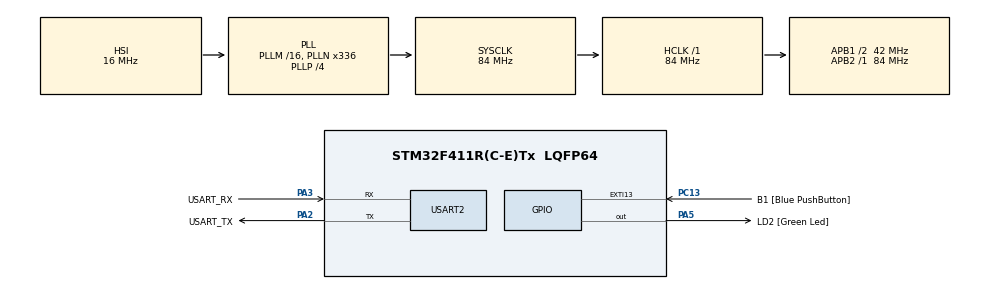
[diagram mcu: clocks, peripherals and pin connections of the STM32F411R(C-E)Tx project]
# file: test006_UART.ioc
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Mcu.Family=STM32F4
Mcu.Name=STM32F411R(C-E)Tx
Mcu.Package=LQFP64
NVIC.PriorityGroup=NVIC_PRIORITYGROUP_0
NVIC.USART2_IRQn=true\:0\:0\:false\:false\:true\:true\:true\:true
PA13.GPIO_Label=TMS
PA13.Mode=Serial_Wire
PA13.Signal=SYS_JTMS-SWDIO
PA14.GPIO_Label=TCK
PA14.Mode=Serial_Wire
PA14.Signal=SYS_JTCK-SWCLK
PA2.GPIO_Label=USART_TX
PA2.Mode=Asynchronous
PA2.Signal=USART2_TX
PA3.GPIO_Label=USART_RX
PA3.Mode=Asynchronous
PA3.Signal=USART2_RX
PA5.GPIO_Label=LD2 [Green Led]
PA5.Signal=GPIO_Output
PB3.GPIO_Label=SWO
PB3.Signal=SYS_JTDO-SWO
PC13-ANTI_TAMP.GPIO_Label=B1 [Blue PushButton]
PC13-ANTI_TAMP.GPIO_ModeDefaultEXTI=GPIO_MODE_IT_FALLING
PC13-ANTI_TAMP.Signal=GPXTI13
PC14-OSC32_IN.Mode=LSE-External-Oscillator
PC14-OSC32_IN.Signal=RCC_OSC32_IN
PC15-OSC32_OUT.Mode=LSE-External-Oscillator
PC15-OSC32_OUT.Signal=RCC_OSC32_OUT
PH0\ -\ OSC_IN.Mode=HSE-External-Clock-Source
PH0\ -\ OSC_IN.Signal=RCC_OSC_IN
PH1\ -\ OSC_OUT.Mode=HSE-External-Clock-Source
PH1\ -\ OSC_OUT.Signal=RCC_OSC_OUT
ProjectManager.HeapSize=0x200
ProjectManager.StackSize=0x400
ProjectManager.TargetToolchain=STM32CubeIDE
RCC.48MHZClocksFreq_Value=84000000
RCC.AHBFreq_Value=84000000
RCC.APB1CLKDivider=RCC_HCLK_DIV2
RCC.APB1Freq_Value=42000000
RCC.APB1TimFreq_Value=84000000
RCC.APB2Freq_Value=84000000
RCC.APB2TimFreq_Value=84000000
RCC.CortexFreq_Value=84000000
RCC.FLatency-AdvancedSettings=FLASH_LATENCY_2
RCC.HCLKFreq_Value=84000000
RCC.HSE_VALUE=8000000
RCC.HSI_VALUE=16000000
RCC.PLLN=336
RCC.PLLP=RCC_PLLP_DIV4
RCC.SYSCLKFreq_VALUE=84000000
RCC.SYSCLKSource=RCC_SYSCLKSOURCE_PLLCLK
RCC.VCOOutputFreq_Value=336000000
USART2.VirtualMode=VM_ASYNC
board=NUCLEO-F411RE

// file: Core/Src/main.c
/* USER CODE BEGIN Header */
/**
  ******************************************************************************
  * @file           : main.c
  * @brief          : Main program body
  ******************************************************************************
  * @attention
  *
  * Copyright (c) 2024 STMicroelectronics.
  * All rights reserved.
  *
  * This software is licensed under terms that can be found in the LICENSE file
  * in the root directory of this software component.
  * If no LICENSE file comes with this software, it is provided AS-IS.
  *
  ******************************************************************************
  */
/* USER CODE END Header */
#include "main.h"

UART_HandleTypeDef huart2;

void SystemClock_Config(void);
static void MX_GPIO_Init(void);
static void MX_USART2_UART_Init(void);

/* USER CODE BEGIN 0 */
char buf[500];
char dum;
int idx1 = 0;
int cmdOk1 = 1;
void HAL_UART_RxCpltCallback(UART_HandleTypeDef *huart)
{
	HAL_UART_Transmit(&huart2,&dum,1,10);//where,what,how many data for IT, timeout
	if(dum == '\r')
	{
		HAL_UART_Transmit(&huart2,'\n',1,10);//where,what,how many data for IT, timeout
		cmdOk1 =1;
	}
	else cmdOk1 = 0;

	buf[idx1++] = dum;
	buf[idx1]='\0';

	HAL_UART_Receive_IT(&huart2,&dum,1);
}

/* USER CODE END 0 */

int main(void)
{

  /* MCU Configuration--------------------------------------------------------*/

  /* Reset of all peripherals, Initializes the Flash interface and the Systick. */
  HAL_Init();

  /* Configure the system clock */
  SystemClock_Config();

  /* Initialize all configured peripherals */
  MX_GPIO_Init();
  MX_USART2_UART_Init();
  /* USER CODE BEGIN 2 */

  ProgramStart("UART Rx-Interruptasdf");
  HAL_UART_Receive_IT(&huart2,&dum,1); //one time interrupt
  /* USER CODE END 2 */

  /* Infinite loop */
  while (1)
  {

    /* USER CODE BEGIN 3 */
    if(cmdOk1 >0)
    {
    	printf("%s\r\n>>\033[A\n",buf);
		  idx1=0;
		  cmdOk1=0;
    }
    HAL_Delay(10);
    /*
	  if(buf[idx1-1]=='\r')
	  {
		  printf("%s\r\n",buf);
		  idx1=0;
	  }
	  */
	  //HAL_Delay(1000);
  }
  /* USER CODE END 3 */
}

void SystemClock_Config(void)
{
  RCC_OscInitTypeDef RCC_OscInitStruct = {0};
  RCC_ClkInitTypeDef RCC_ClkInitStruct = {0};

  /** Configure the main internal regulator output voltage
  */
  __HAL_RCC_PWR_CLK_ENABLE();
  __HAL_PWR_VOLTAGESCALING_CONFIG(PWR_REGULATOR_VOLTAGE_SCALE1);

  /** Initializes the RCC Oscillators according to the specified parameters
  * in the RCC_OscInitTypeDef structure.
  */
  RCC_OscInitStruct.OscillatorType = RCC_OSCILLATORTYPE_HSI;
  RCC_OscInitStruct.HSIState = RCC_HSI_ON;
  RCC_OscInitStruct.HSICalibrationValue = RCC_HSICALIBRATION_DEFAULT;
  RCC_OscInitStruct.PLL.PLLState = RCC_PLL_ON;
  RCC_OscInitStruct.PLL.PLLSource = RCC_PLLSOURCE_HSI;
  RCC_OscInitStruct.PLL.PLLM = 16;
  RCC_OscInitStruct.PLL.PLLN = 336;
  RCC_OscInitStruct.PLL.PLLP = RCC_PLLP_DIV4;
  RCC_OscInitStruct.PLL.PLLQ = 4;
  if (HAL_RCC_OscConfig(&RCC_OscInitStruct) != HAL_OK)
  {
    Error_Handler();
  }

  /** Initializes the CPU, AHB and APB buses clocks
  */
  RCC_ClkInitStruct.ClockType = RCC_CLOCKTYPE_HCLK|RCC_CLOCKTYPE_SYSCLK
                              |RCC_CLOCKTYPE_PCLK1|RCC_CLOCKTYPE_PCLK2;
  RCC_ClkInitStruct.SYSCLKSource = RCC_SYSCLKSOURCE_PLLCLK;
  RCC_ClkInitStruct.AHBCLKDivider = RCC_SYSCLK_DIV1;
  RCC_ClkInitStruct.APB1CLKDivider = RCC_HCLK_DIV2;
  RCC_ClkInitStruct.APB2CLKDivider = RCC_HCLK_DIV1;

  if (HAL_RCC_ClockConfig(&RCC_ClkInitStruct, FLASH_LATENCY_2) != HAL_OK)
  {
    Error_Handler();
  }
}

static void MX_USART2_UART_Init(void)
{

  huart2.Instance = USART2;
  huart2.Init.BaudRate = 115200;
  huart2.Init.WordLength = UART_WORDLENGTH_8B;
  huart2.Init.StopBits = UART_STOPBITS_1;
  huart2.Init.Parity = UART_PARITY_NONE;
  huart2.Init.Mode = UART_MODE_TX_RX;
  huart2.Init.HwFlowCtl = UART_HWCONTROL_NONE;
  huart2.Init.OverSampling = UART_OVERSAMPLING_16;
  if (HAL_UART_Init(&huart2) != HAL_OK)
  {
    Error_Handler();
  }

}

static void MX_GPIO_Init(void)
{
  GPIO_InitTypeDef GPIO_InitStruct = {0};

  /* GPIO Ports Clock Enable */
  __HAL_RCC_GPIOC_CLK_ENABLE();
  __HAL_RCC_GPIOH_CLK_ENABLE();
  __HAL_RCC_GPIOA_CLK_ENABLE();
  __HAL_RCC_GPIOB_CLK_ENABLE();

  /*Configure GPIO pin Output Level */
  HAL_GPIO_WritePin(LD2_GPIO_Port, LD2_Pin, GPIO_PIN_RESET);

  /*Configure GPIO pin : B1_Pin */
  GPIO_InitStruct.Pin = B1_Pin;
  GPIO_InitStruct.Mode = GPIO_MODE_IT_FALLING;
  GPIO_InitStruct.Pull = GPIO_NOPULL;
  HAL_GPIO_Init(B1_GPIO_Port, &GPIO_InitStruct);

  /*Configure GPIO pin : LD2_Pin */
  GPIO_InitStruct.Pin = LD2_Pin;
  GPIO_InitStruct.Mode = GPIO_MODE_OUTPUT_PP;
  GPIO_InitStruct.Pull = GPIO_NOPULL;
  GPIO_InitStruct.Speed = GPIO_SPEED_FREQ_LOW;
  HAL_GPIO_Init(LD2_GPIO_Port, &GPIO_InitStruct);

}

void Error_Handler(void)
{
  __disable_irq();
  while (1)
  {
  }
}
